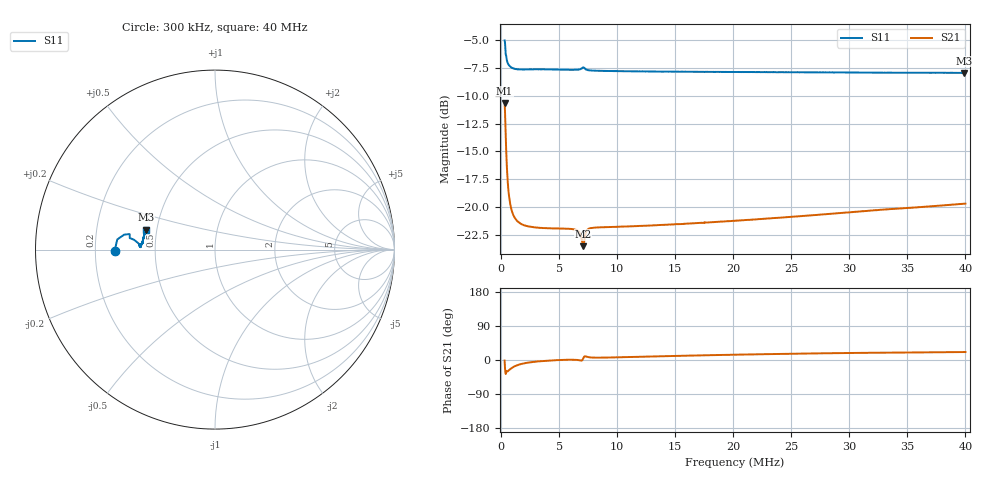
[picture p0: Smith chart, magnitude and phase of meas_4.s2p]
# HZ S RI R 50
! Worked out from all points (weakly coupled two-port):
!   1206 points, 300 kHz to 40 MHz, reference 50 ohm
!   highest |S21| = -10.65 dB at 300 kHz (marker M1); lowest = -23.5 dB at 7.054 MHz (marker M2)
!   lowest |S11| = -8.0 dB at 39.9 MHz (marker M3), VSWR 2.33, Z = 21.8 + j5.74 ohm
!   |S11| at or under -10 dB: nowhere
!   S12 and S22 are empty: the file has one direction only
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300000  -0.5597 -0.00929  0.2934 -0.00795  0 0  0 0
398838  -0.4758 0.0865  0.1618 -0.1223  0 0  0 0
530622  -0.4458 0.0504  0.1203 -0.0709  0 0  0 0
596514  -0.4377 0.0446  0.1087 -0.0612  0 0  0 0
695352  -0.4304 0.0383  0.0993 -0.049  0 0  0 0
893028  -0.4225 0.0298  0.0907 -0.0357  0 0  0 0
1222488  -0.4159 0.0219  0.0855 -0.0241  0 0  0 0
1683732  -0.4147 0.0158  0.0828 -0.0159  0 0  0 0
2441490  -0.4152 0.0134  0.0813 -0.009  0 0  0 0
6395010  -0.4127 0.0214  0.0793 0.000726  0 0  0 0
6691524  -0.4138 0.0203  0.0778 -0.000458  0 0  0 0
6922146  -0.4176 0.0172  0.0726 -0.00193  0 0  0 0
7053930  -0.4228 0.0222  0.0668 0.00355  0 0  0 0
7185714  -0.419 0.0308  0.0709 0.0121  0 0  0 0
7449282  -0.4112 0.0301  0.0786 0.011  0 0  0 0
7745796  -0.4095 0.0287  0.0801 0.00942  0 0  0 0
1.354429e7  -0.4039 0.0406  0.0819 0.014  0 0  0 0
2.016644e7  -0.4 0.058  0.0844 0.021  0 0  0 0
2.678858e7  -0.3955 0.0762  0.0879 0.0273  0 0  0 0
3.341073e7  -0.3902 0.0936  0.0924 0.0325  0 0  0 0
3.990109e7  -0.3846 0.1107  0.0967 0.0372  0 0  0 0
3.999993e7  -0.3846 0.1107  0.0968 0.0372  0 0  0 0
